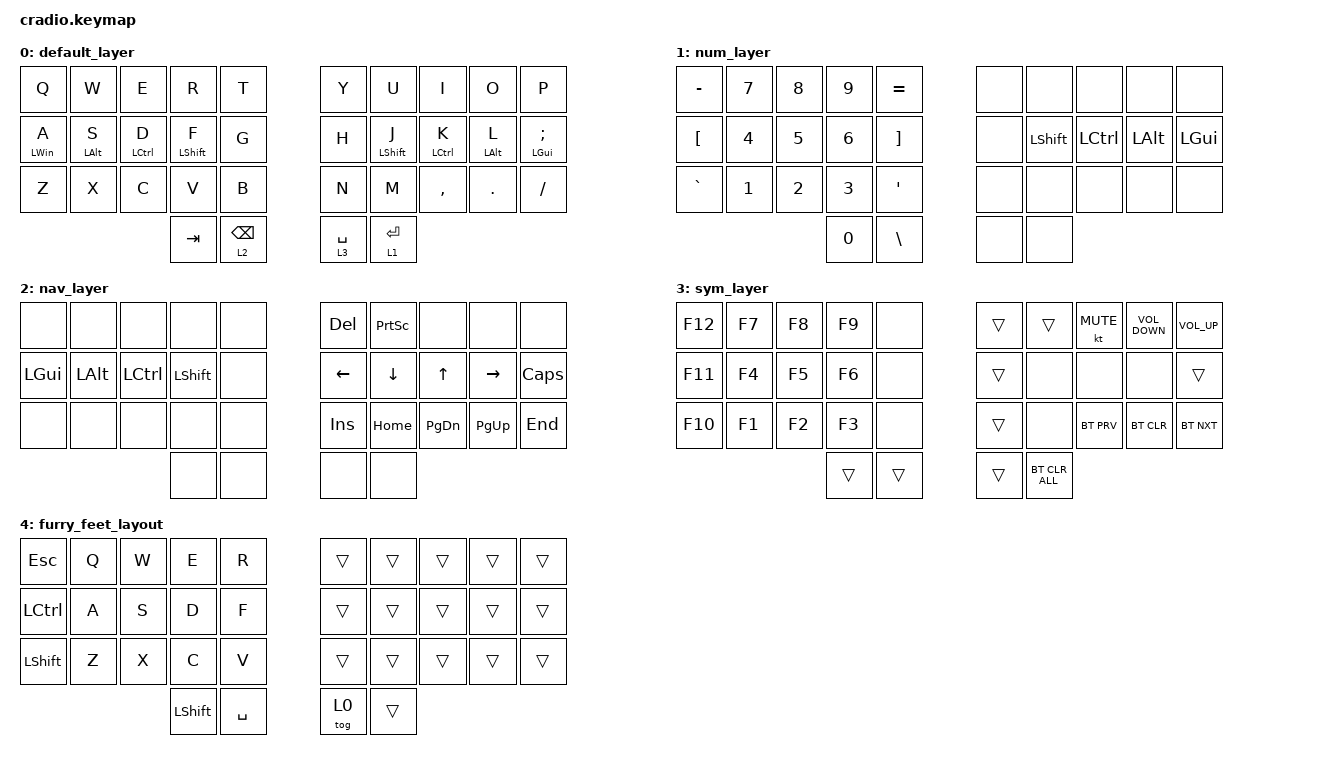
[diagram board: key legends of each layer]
/*
 * Copyright (c) 2020 The ZMK Contributors
 *
 * SPDX-License-Identifier: MIT
 */

#include <behaviors.dtsi>
#include <dt-bindings/zmk/bt.h>
#include <dt-bindings/zmk/keys.h>

&mt {
    //  flavor = "tap-preferred";
    // tapping_term_ms = <200>;

    flavor = "tap-preferred";
};

/ {
    combos {
        compatible = "zmk,combos";

        escape {
            bindings = <&kp ESCAPE>;
            key-positions = <30 31>;
        };

        bspc {
            bindings = <&kp BACKSPACE>;
            key-positions = <32 33>;
        };

        game {
            bindings = <&tog 4>;
            key-positions = <9 5>;
        };
    };

    keymap {
        compatible = "zmk,keymap";

        default_layer {
            bindings = <
&kp Q           &kp W           &kp E               &kp R             &kp T              &kp Y        &kp U             &kp I               &kp O           &kp P
&mt LEFT_WIN A  &mt LEFT_ALT S  &mt LEFT_CONTROL D  &mt LEFT_SHIFT F  &kp G              &kp H        &mt LEFT_SHIFT J  &mt LEFT_CONTROL K  &mt LEFT_ALT L  &mt LEFT_GUI SEMICOLON
&kp Z           &kp X           &kp C               &kp V             &kp B              &kp N        &kp M             &kp COMMA           &kp DOT         &kp SLASH
                                                    &kp TAB           &lt 2 BACKSPACE    &lt 3 SPACE  &lt 1 ENTER
            >;
        };

        num_layer {
            bindings = <
&kp MINUS         &kp N7        &kp NUMBER_8  &kp NUMBER_9  &kp EQUAL            &none  &none           &none             &none         &none
&kp LEFT_BRACKET  &kp NUMBER_4  &kp NUMBER_5  &kp NUMBER_6  &kp RIGHT_BRACKET    &none  &kp LEFT_SHIFT  &kp LEFT_CONTROL  &kp LEFT_ALT  &kp LEFT_GUI
&kp GRAVE         &kp NUMBER_1  &kp NUMBER_2  &kp NUMBER_3  &kp SQT              &none  &none           &none             &none         &none
                                              &kp NUMBER_0  &kp BACKSLASH        &none  &none
            >;
        };

        nav_layer {
            bindings = <
&none         &none         &none      &none           &none    &kp DEL         &kp PRINTSCREEN  &none          &none            &none
&kp LEFT_GUI  &kp LEFT_ALT  &kp LCTRL  &kp LEFT_SHIFT  &none    &kp LEFT_ARROW  &kp DOWN         &kp UP_ARROW   &kp RIGHT_ARROW  &kp CLCK
&none         &none         &none      &none           &none    &kp INS         &kp HOME         &kp PAGE_DOWN  &kp PG_UP        &kp END
                                       &none           &none    &none           &none
            >;
        };

        sym_layer {
            bindings = <
&kp F12  &kp F7  &kp F8  &kp F9  &none     &trans  &trans          &kt K_MUTE  &kp K_VOLUME_DOWN  &kp C_VOLUME_UP
&kp F11  &kp F4  &kp F5  &kp F6  &none     &trans  &none           &none       &none              &trans
&kp F10  &kp F1  &kp F2  &kp F3  &none     &trans  &none           &bt BT_PRV  &bt BT_CLR         &bt BT_NXT
                         &trans  &trans    &trans  &bt BT_CLR_ALL
            >;
        };

        furry_feet_layout {
            bindings = <
&kp ESCAPE      &kp Q  &kp W  &kp E           &kp R        &trans  &trans  &trans  &trans  &trans
&kp LCTRL       &kp A  &kp S  &kp D           &kp F        &trans  &trans  &trans  &trans  &trans
&kp LEFT_SHIFT  &kp Z  &kp X  &kp C           &kp V        &trans  &trans  &trans  &trans  &trans
                              &kp LEFT_SHIFT  &kp SPACE    &tog 0  &trans
            >;
        };
    };
};
